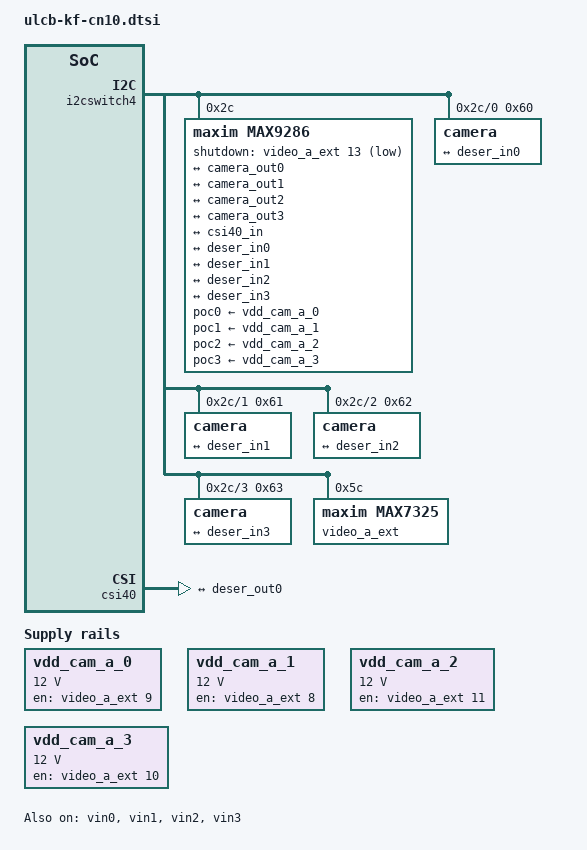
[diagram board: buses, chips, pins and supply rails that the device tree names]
/*
* Device Tree Source for the H3ULCB Kingfisher board:
*  this adding resource for CN10
*  use CN10 instead default CN29/CN48
*
* Copyright (C) 2017 Renesas Electronics Corp.
* Copyright (C) 2017 Cogent Embedded, Inc.
* Copyright (C) 2018, 2020 GlobalLogic
*
* This file is licensed under the terms of the GNU General Public License
* version 2.  This program is licensed "as is" without any warranty of any
* kind, whether express or implied.
*/

#define LVDS_CAMERA		\
	"ovti,ov10635",		\
	"ovti,ov490"

/ {

	vdd_cam_a_0: regulator@14 {
		compatible = "regulator-fixed";
		regulator-name = "Video-A PWR0";
		regulator-min-microvolt = <12000000>;
		regulator-max-microvolt = <12000000>;
		gpio = <&video_a_ext 9 GPIO_ACTIVE_HIGH>;
		enable-active-high;
	};

	vdd_cam_a_1: regulator@15 {
		compatible = "regulator-fixed";
		regulator-name = "Video-A PWR1";
		regulator-min-microvolt = <12000000>;
		regulator-max-microvolt = <12000000>;
		gpio = <&video_a_ext 8 GPIO_ACTIVE_HIGH>;
		enable-active-high;
	};

	vdd_cam_a_2: regulator@16 {
		compatible = "regulator-fixed";
		regulator-name = "Video-A PWR2";
		regulator-min-microvolt = <12000000>;
		regulator-max-microvolt = <12000000>;
		gpio = <&video_a_ext 11 GPIO_ACTIVE_HIGH>;
		enable-active-high;
	};

	vdd_cam_a_3: regulator@17 {
		compatible = "regulator-fixed";
		regulator-name = "Video-A PWR3";
		regulator-min-microvolt = <12000000>;
		regulator-max-microvolt = <12000000>;
		gpio = <&video_a_ext 10 GPIO_ACTIVE_HIGH>;
		enable-active-high;
	};

};

&i2cswitch4 {
	i2c@1 {
		#address-cells = <1>;
		#size-cells = <0>;
		reg = <1>;

		/* Slot A (CN10) */

		/* MAX9286 @ 0x2c */
		max9286@2c {
			compatible = "maxim,max9286", "ti,ub9x4";
			#address-cells = <1>;
			#size-cells = <0>;
			reg = <0x2c 0x3a>;
			reg-names = "max9286", "ub9x4";
			regs = <0x0c 0x0d 0x0e 0x0f>;
			shutdown-gpios = <&video_a_ext 13 GPIO_ACTIVE_LOW>;

			poc0-supply = <&vdd_cam_a_0>;
			poc1-supply = <&vdd_cam_a_1>;
			poc2-supply = <&vdd_cam_a_2>;
			poc3-supply = <&vdd_cam_a_3>;

			ports {
				#address-cells = <1>;
				#size-cells = <0>;

				port@0 {
					reg = <0>;
					deser_in0: endpoint {
						remote-endpoint = <&camera_out0>;
					};
				};

				port@1 {
					reg = <1>;
					deser_in1: endpoint {
						remote-endpoint = <&camera_out1>;
					};
				};

				port@2 {
					reg = <2>;
					deser_in2: endpoint {
						remote-endpoint = <&camera_out2>;
					};
				};

				port@3 {
					reg = <3>;
					deser_in3: endpoint {
						remote-endpoint = <&camera_out3>;
					};
				};

				port@4 {
					reg = <4>;
					deser_out0: endpoint {
						clock-lanes = <0>;
						data-lanes = <1 2 3 4>;
						remote-endpoint = <&csi40_in>;
					};
				};
			};

			i2c@0 {
				#address-cells = <1>;
				#size-cells = <0>;
				reg = <0>;

				camera@60 {
					compatible = LVDS_CAMERA;
					reg = <0x60 0x0c>;

					port {
						camera_out0: endpoint {
							remote-endpoint = <&deser_in0>;
						};
					};
				};
			};


			i2c@1 {
				#address-cells = <1>;
				#size-cells = <0>;
				reg = <1>;

				camera@61 {
					compatible = LVDS_CAMERA;
					reg = <0x61 0x0d>;

					port {
						camera_out1: endpoint {
							remote-endpoint = <&deser_in1>;
						};
					};
				};
			};

			i2c@2 {
				#address-cells = <1>;
				#size-cells = <0>;
				reg = <2>;

				camera@62 {
					compatible = LVDS_CAMERA;
					reg = <0x62 0x0e>;

					port {
						camera_out2: endpoint {
							remote-endpoint = <&deser_in2>;
						};
					};
				};
			};

			i2c@3 {
				#address-cells = <1>;
				#size-cells = <0>;
				reg = <3>;

				camera@63 {
					compatible = LVDS_CAMERA;
					reg = <0x63 0x0f>;

					port {
						camera_out3: endpoint {
							remote-endpoint = <&deser_in3>;
						};
					};
				};
			};
		};
	};

	i2c@7 {
		#address-cells = <1>;
		#size-cells = <0>;
		reg = <7>;

		/* Slot A (CN10) */
		video_a_ext: max7325@5c {
			compatible = "maxim,max7325";
			reg = <0x5c>;
			gpio-controller;
			#gpio-cells = <2>;

			video_a_des_cfg2 {
				gpio-hog;
				gpios = <4 GPIO_ACTIVE_HIGH>;
				input;
				line-name = "Video-A cfg2";
			};
			video_a_des_cfg1 {
				gpio-hog;
				gpios = <6 GPIO_ACTIVE_HIGH>;
				input;
				line-name = "Video-A cfg1";
			};
			video_a_des_cfg0 {
				gpio-hog;
				gpios = <7 GPIO_ACTIVE_HIGH>;
				input;
				line-name = "Video-A cfg0";
			};
			video_a_pwr_shdn {
				gpio-hog;
				gpios = <14 GPIO_ACTIVE_HIGH>;
				output-high;
				line-name = "Video-A PWR_SHDN";
			};
			video_a_led {
				gpio-hog;
				gpios = <12 GPIO_ACTIVE_HIGH>;
				output-low;
				line-name = "Video-A LED";
			};
		};
	};
};

&vin0 {
	status = "okay";
};

&vin1 {
	status = "okay";
};

&vin2 {
	status = "okay";
};

&vin3 {
	status = "okay";
};

&csi40 {
	status = "okay";

	ports {
		#address-cells = <1>;
		#size-cells = <0>;

		port@0 {
			reg = <0>;

			csi40_in: endpoint {
				clock-lanes = <0>;
				data-lanes = <1 2 3 4>;
				remote-endpoint = <&deser_out0>;
			};
		};
	};
};
